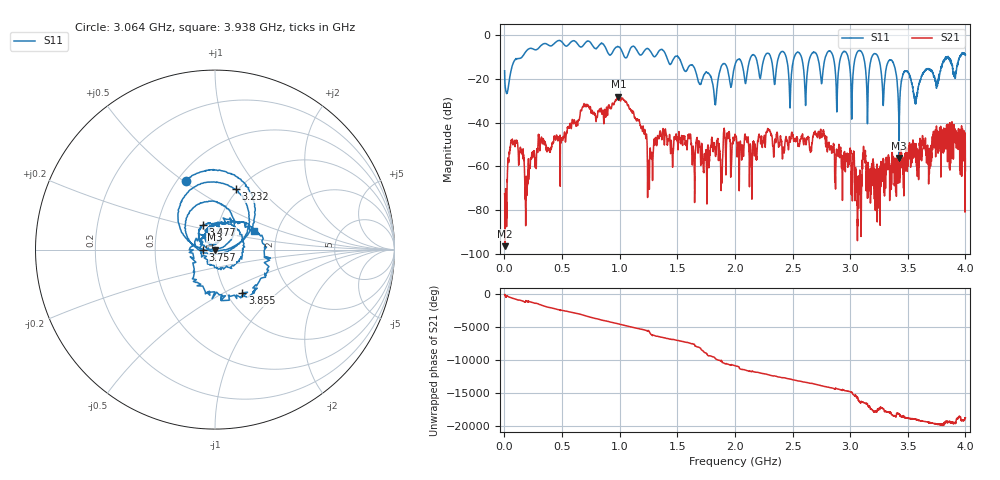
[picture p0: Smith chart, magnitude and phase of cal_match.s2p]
!Created with skrf (http://scikit-rf.org).
# GHz S RI R 50.0
!freq ReS11 ImS11 ReS21 ImS21 ReS12 ImS12 ReS22 ImS22
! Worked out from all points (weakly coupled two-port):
!   4000 points, 1 MHz to 4 GHz, reference 50 ohm
!   highest |S21| = -28.24 dB at 988 MHz (marker M1); lowest = -96.6 dB at 4 MHz (marker M2)
!   lowest |S11| = -56.2 dB at 3.425 GHz (marker M3), VSWR 1.00, Z = 49.9 - j0.0491 ohm
!   |S11| at or under -10 dB: start of sweep to 152.8 MHz; 1.508 GHz to 2.138 GHz (630 MHz wide, 34.6 % of centre); 3.242 GHz to 3.835 GHz (592.8 MHz wide, 16.8 % of centre) (the widest 3 of 18)
!   S12 and S22 are empty: the file has one direction only
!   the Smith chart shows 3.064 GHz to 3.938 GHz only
!   S11 on the Smith chart (normalised r, x): 3.064 GHz: 0.55, +0.51; 3.232 GHz: 0.98, +0.75; 3.477 GHz: 0.85, +0.24; 3.757 GHz: 0.87, -0.00; 3.855 GHz: 1.18, -0.62; 3.938 GHz: 1.51, +0.34
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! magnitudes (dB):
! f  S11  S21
! 1 MHz  -16.3  -72.6
! 4 MHz  -22.1  -96.6
! 71 MHz  -13.5  -48.4
! 194 MHz  -7.0  -73.4
! 668 MHz  -5.4  -34.6
! 988 MHz  -5.3  -28.2
! 1.26 GHz  -6.9  -55.8
! 1.334 GHz  -7.8  -46.9
! 1.828 GHz  -31.7  -53.7
! 2.001 GHz  -13.6  -45.7
! 2.667 GHz  -8.6  -49.7
! 3.014 GHz  -38.3  -61.2
! 3.064 GHz  -7.6  -84.2
! 3.15 GHz  -40.5  -74.7
! 3.232 GHz  -9.0  -62.7
! 3.334 GHz  -11.8  -57.1
! 3.425 GHz  -56.2  -58.1
! 3.477 GHz  -16.4  -58.1
! 3.757 GHz  -23.3  -43.8
! 3.855 GHz  -10.9  -49.9
! 3.938 GHz  -12.3  -48.3
! 4 GHz  -9.1  -62.1
